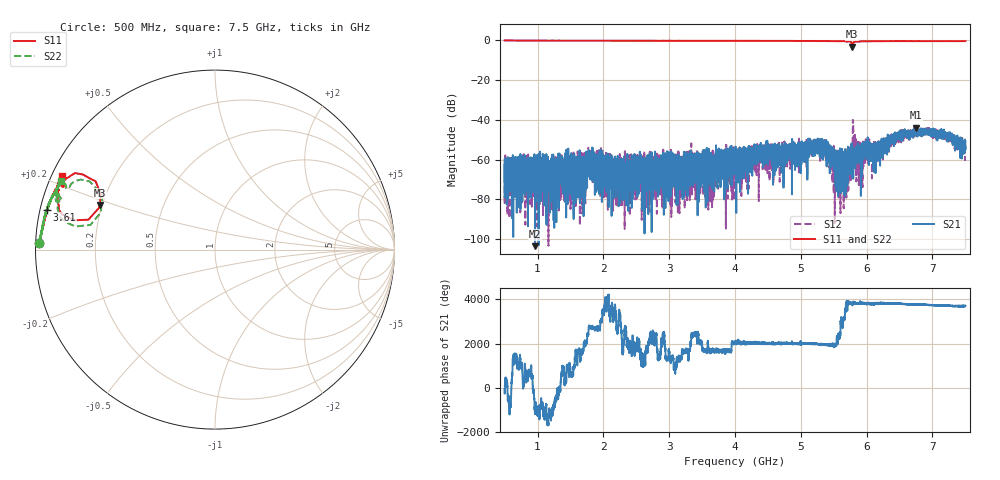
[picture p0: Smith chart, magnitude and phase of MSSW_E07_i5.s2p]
!Keysight Technologies,M9374A,MY55442783,A.12.55.05
!Date: Thursday, May 20, 2021 17:24:05
!Correction: S11(Full 2 Port(1,2))
!S21(Full 2 Port(1,2))
!S12(Full 2 Port(1,2))
!S22(Full 2 Port(1,2))
!S2P File: Measurements: S11, S21, S12, S22:
# Hz S  RI  R 50
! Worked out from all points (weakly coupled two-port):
!   7001 points, 500 MHz to 7.5 GHz, reference 50 ohm
!   highest |S21| = -44.02 dB at 6.748 GHz (marker M1); lowest = -103.5 dB at 963 MHz (marker M2)
!   lowest |S11| = -3.3 dB at 5.783 GHz (marker M3), VSWR 5.37, Z = 9.62 + j9.03 ohm
!   |S11| at or under -10 dB: nowhere
!   |S22| runs from -3.5 to -0.2 dB; largest |S21 - S12| = 0.0094
!   S11 on the Smith chart (normalised r, x): 500 MHz: 0.01, +0.02; 3.61 GHz: 0.02, +0.12; 7.5 GHz: 0.03, +0.23
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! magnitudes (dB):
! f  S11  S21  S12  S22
! 500 MHz  -0.2  -62.6  -68.3  -0.2
! 963 MHz  -0.2  -103.5  -77.1  -0.2
! 1.667 GHz  -0.3  -71.3  -71.0  -0.3
! 1.809 GHz  -0.3  -64.8  -57.8  -0.3
! 2.29 GHz  -0.3  -65.8  -69.8  -0.3
! 2.834 GHz  -0.3  -67.8  -61.7  -0.3
! 3.61 GHz  -0.3  -62.3  -62.3  -0.3
! 4 GHz  -0.4  -64.7  -63.0  -0.3
! 5.167 GHz  -0.4  -51.6  -51.8  -0.4
! 5.351 GHz  -0.4  -52.8  -51.9  -0.5
! 5.577 GHz  -0.5  -66.4  -60.6  -0.5
! 5.634 GHz  -0.5  -59.4  -60.8  -0.5
! 5.748 GHz  -0.7  -59.3  -57.5  -1.1
! 5.783 GHz  -3.3  -56.4  -59.0  -3.5
! 5.819 GHz  -0.8  -56.4  -47.4  -0.8
! 5.909 GHz  -0.7  -53.2  -55.4  -0.8
! 5.995 GHz  -0.6  -53.1  -52.7  -0.6
! 6.136 GHz  -0.5  -54.7  -55.9  -0.6
! 6.334 GHz  -0.5  -50.4  -52.4  -0.5
! 6.748 GHz  -0.5  -44.0  -46.2  -0.5
! 7.155 GHz  -0.5  -45.8  -45.8  -0.5
! 7.5 GHz  -0.5  -50.8  -54.3  -0.5
